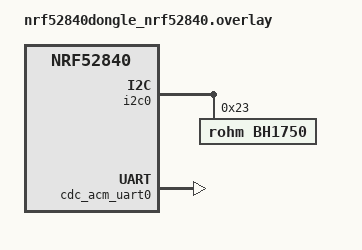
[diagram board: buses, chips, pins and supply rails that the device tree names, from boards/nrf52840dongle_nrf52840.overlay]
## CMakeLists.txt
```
# SPDX-License-Identifier: Apache-2.0

cmake_minimum_required(VERSION 3.20.0)
find_package(Zephyr REQUIRED HINTS $ENV{ZEPHYR_BASE})
project(bh1750)

FILE(GLOB app_sources src/*.c)
target_sources(app PRIVATE ${app_sources})
```

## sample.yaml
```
sample:
  name: BH1750 Digital Light Sensor
tests:
  sample.sensor.bh1750:
    tags: sensors
    depends_on: i2c
    platform_allow: nrf52840dongle_nrf52840
    integration_platforms:
      - nrf52840dongle_nrf52840
```

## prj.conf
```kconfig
CONFIG_STDOUT_CONSOLE=y
CONFIG_I2C=y
CONFIG_SENSOR=y
CONFIG_BH1750=y
CONFIG_BH1750_MODE_CHM_2=y
CONFIG_CBPRINTF_FP_SUPPORT=y

#USB CONFIGURATION
CONFIG_USB_DEVICE_STACK=y
CONFIG_USB_DEVICE_PRODUCT="Zephyr USB console sample"

CONFIG_SERIAL=y
CONFIG_CONSOLE=y
CONFIG_UART_CONSOLE=y
CONFIG_UART_LINE_CTRL=y
```

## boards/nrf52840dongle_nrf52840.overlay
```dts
&i2c0 {
	bh1750@23 {
		compatible = "rohm,bh1750";
		reg = <0x23>;
		status = "okay";
	};
};
/ {
	chosen {
		zephyr,console = &cdc_acm_uart0;
	};
};

&zephyr_udc0 {
	cdc_acm_uart0: cdc_acm_uart0 {
		compatible = "zephyr,cdc-acm-uart";
	};
};
```

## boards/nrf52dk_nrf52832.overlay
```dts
/*
 * Copyright (c) 2019 Nordic Semiconductor ASA
 *
 * SPDX-License-Identifier: Apache-2.0
 */

&i2c0 { /* SDA P0.26, SCL P0.27, ALERT P1.11 */
	bh1750@23 {
		compatible = "rohm,bh1750";
		reg = <0x23>;
	};
};
/ {
	chosen {
		zephyr,console = &cdc_acm_uart0;
	};
};

&zephyr_udc0 {
	cdc_acm_uart0: cdc_acm_uart0 {
		compatible = "zephyr,cdc-acm-uart";
	};
};
```

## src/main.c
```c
#include <zephyr/zephyr.h>
#include <zephyr/device.h>
#include <zephyr/drivers/sensor.h>
#include <stdio.h>
#include <zephyr/sys/util.h>
#include <zephyr/drivers/i2c.h>
#include <zephyr/sys/printk.h>
#include <zephyr/usb/usb_device.h>
#include <zephyr/drivers/uart.h>

void main(void){
	const struct device *dev1 = DEVICE_DT_GET(DT_CHOSEN(zephyr_console));
	uint32_t dtr = 0;

	if (usb_enable(NULL)) {
		return;
	}

	/* Poll if the DTR flag was set */
	while (!dtr) {
		uart_line_ctrl_get(dev1, UART_LINE_CTRL_DTR, &dtr);
		/* Give CPU resources to low priority threads. */
		k_sleep(K_MSEC(100));
	}
	powerOn();
    setMeasuringTime(); 
	while(1){
		printk("Light: %d lx \n", getLux());
		k_sleep(K_MSEC(100));
	}
}
```
